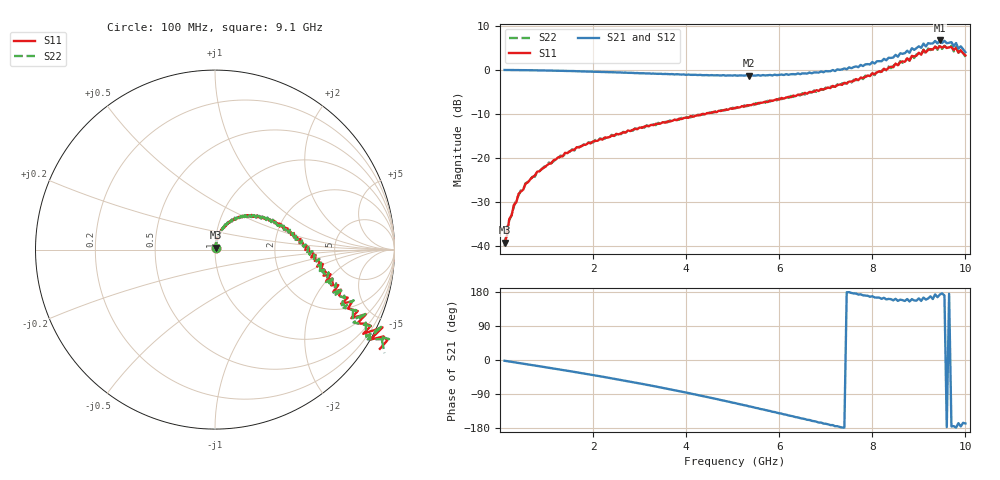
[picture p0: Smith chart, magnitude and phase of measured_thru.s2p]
!Keysight Technologies,P9373A,MY57211790,A.19.30.04
!Date: Friday, April 24, 2026 14:40:08
!Correction: S11(C  2-Port  )
!S21(C  2-Port  )
!S12(C  2-Port  )
!S22(C  2-Port  )
!S2P File: Measurements: S11, S21, S12, S22:
# Hz S  MA  R 50
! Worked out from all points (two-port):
!   199 points, 100 MHz to 10 GHz, reference 50 ohm
!   highest |S21| = 6.67 dB at 9.45 GHz (marker M1); lowest = -1.3 dB at 5.35 GHz (marker M2)
!   |S21| within 3 dB of the highest: 8.594 GHz to 8.641 GHz (46.2 MHz wide, 0.536 % of centre); 8.657 GHz to end of sweep
!   lowest |S11| = -39.2 dB at 100 MHz (marker M3), VSWR 1.02, Z = 50.3 + j1.05 ohm
!   |S11| at or under -10 dB: start of sweep to 4.346 GHz; 4.36 GHz to 4.415 GHz (54.92 MHz wide, 1.25 % of centre)
!   |S22| runs from -40.0 to 5.7 dB; largest |S21 - S12| = 0.02
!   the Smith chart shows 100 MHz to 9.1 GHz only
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1e8  0.01099 71.4  0.9974 -2.0  0.9995 -2.0  0.01002 71.3
5.5e8  0.05129 79.1  0.9913 -10.8  0.9925 -10.8  0.05167 78.1
1.75e9  0.1366 69.3  0.9621 -34.6  0.9636 -34.7  0.1359 68.2
3.4e9  0.2443 47.9  0.9015 -71.3  0.9014 -71.5  0.2505 49.1
5.05e9  0.3702 25.1  0.8685 -113.6  0.8695 -113.9  0.3662 24.9
5.35e9  0.3978 17.8  0.8578 -122.3  0.8576 -122.6  0.3957 17.3
6.7e9  0.5595 -6.5  0.9138 -160.5  0.914 -160.9  0.5538 -6.8
8.35e9  1.056 -27.3  1.374 161.3  1.376 160.8  1.09 -27.2
9.05e9  1.484 -26.9  1.777 155.9  1.779 155.5  1.485 -27.4
9.1e9  1.675 -16.2  1.986 164.7  1.988 164.3  1.701 -15.9
9.3e9  1.701 -19.5  1.995 160.9  1.996 160.4  1.713 -20.0
9.35e9  1.844 -5.5  2.129 173.1  2.13 172.7  1.859 -5.2
9.4e9  1.744 -13.7  1.998 165.7  2 165.3  1.69 -13.7
9.45e9  1.855 -5.6  2.156 172.5  2.159 171.9  1.92 -6.2
9.55e9  1.857 -8.0  2.134 170.1  2.133 169.6  1.88 -8.7
9.6e9  1.772 6.6  2.007 -177.1  2.009 -177.5  1.776 7.0
9.65e9  1.802 -2.6  2.029 174.7  2.03 174.2  1.759 -2.5
9.7e9  1.815 9.0  2.064 -175.3  2.066 -175.7  1.877 8.6
9.75e9  1.684 10.0  1.862 -174.4  1.862 -175.0  1.62 10.8
9.8e9  1.781 6.0  2.014 -178.4  2.017 -178.9  1.814 5.1
9.85e9  1.572 19.3  1.739 -166.8  1.742 -167.3  1.568 19.8
1e10  1.462 19.1  1.588 -167.5  1.589 -167.9  1.404 20.2
